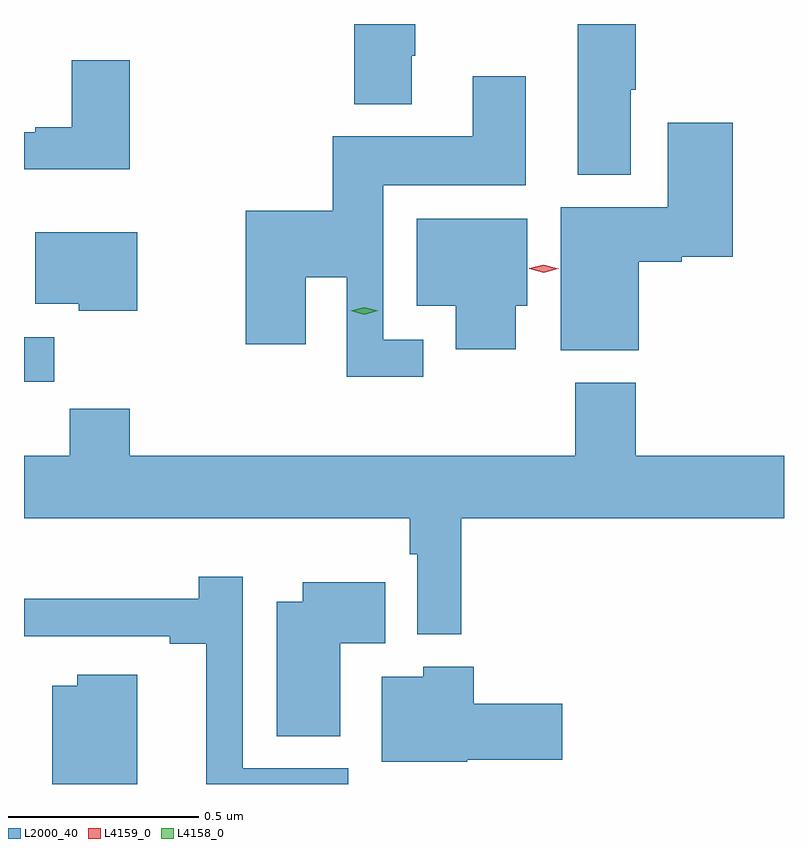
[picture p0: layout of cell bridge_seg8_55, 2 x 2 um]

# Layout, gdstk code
import gdstk
lib = gdstk.Library(unit=1e-6, precision=1e-09)
def R(c, l, rs):  # rectangles x0, y0, x1, y1
    for r in rs: c.add(gdstk.rectangle(r[:2], r[2:], *l))
def P(c, l, *ps):  # polygons
    for p in ps: c.add(gdstk.Polygon(p, *l))
L2000_40 = (2000, 40)
L4158_0 = (4158, 0)
L4159_0 = (4159, 0)

bridge_seg8_55 = lib.new_cell('bridge_seg8_55')
R(bridge_seg8_55, L2000_40, [(1077.402,1118.19,1077.482,1118.308)])
P(bridge_seg8_55, L2000_40, [(1078.999,1118.959),(1079.012,1118.959),(1079.012,1119.132),(1078.859,1119.132),(1078.859,1118.735),(1078.999,1118.735)],
  [(1078.423,1119.048),(1078.431,1119.048),(1078.431,1119.132),(1078.271,1119.132),(1078.271,1118.921),(1078.423,1118.921)],
  [(1077.68,1119.037),(1077.527,1119.037),(1077.527,1118.86),(1077.431,1118.86),(1077.431,1118.847),(1077.402,1118.847),(1077.402,1118.75),(1077.68,1118.75)],
  [(1078.453,1118.301),(1078.347,1118.301),(1078.347,1118.708),(1078.723,1118.708),(1078.723,1118.995),(1078.583,1118.995),(1078.583,1118.836),(1078.214,1118.836),(1078.214,1118.641),(1077.986,1118.641),(1077.986,1118.289),(1078.144,1118.289),(1078.144,1118.465),(1078.251,1118.465),(1078.251,1118.204),(1078.453,1118.204)],
  [(1079.02,1118.507),(1079.133,1118.507),(1079.133,1118.519),(1079.267,1118.519),(1079.267,1118.872),(1079.096,1118.872),(1079.096,1118.65),(1078.814,1118.65),(1078.814,1118.273),(1079.02,1118.273)],
  [(1078.696,1118.39),(1078.726,1118.39),(1078.726,1118.62),(1078.436,1118.62),(1078.436,1118.39),(1078.538,1118.39),(1078.538,1118.276),(1078.696,1118.276)],
  [(1077.7,1118.584),(1077.431,1118.584),(1077.431,1118.396),(1077.546,1118.396),(1077.546,1118.378),(1077.7,1118.378)],
  [(1078.553,1117.832),(1079.402,1117.832),(1079.402,1117.996),(1079.012,1117.996),(1079.012,1118.188),(1078.852,1118.188),(1078.852,1117.996),(1077.68,1117.996),(1077.68,1118.12),(1077.523,1118.12),(1077.523,1117.996),(1077.402,1117.996),(1077.402,1117.832),(1078.417,1117.832),(1078.417,1117.736),(1078.437,1117.736),(1078.437,1117.526),(1078.553,1117.526)],
  [(1078.255,1117.173),(1077.978,1117.173),(1077.978,1117.678),(1077.862,1117.678),(1077.862,1117.619),(1077.402,1117.619),(1077.402,1117.521),(1077.785,1117.521),(1077.785,1117.501),(1077.881,1117.501),(1077.881,1117.132),(1078.255,1117.132)],
  [(1078.234,1117.502),(1078.352,1117.502),(1078.352,1117.663),(1078.136,1117.663),(1078.136,1117.612),(1078.067,1117.612),(1078.067,1117.258),(1078.234,1117.258)],
  [(1078.569,1117.196),(1078.819,1117.196),(1078.819,1117.343),(1078.586,1117.343),(1078.586,1117.441),(1078.452,1117.441),(1078.452,1117.414),(1078.343,1117.414),(1078.343,1117.19),(1078.569,1117.19)],
  [(1077.7,1117.42),(1077.542,1117.42),(1077.542,1117.39),(1077.476,1117.39),(1077.476,1117.132),(1077.7,1117.132)])
P(bridge_seg8_55, L4158_0, [(1078.298,1118.367),(1078.262,1118.377),(1078.262,1118.377),(1078.262,1118.378),(1078.298,1118.387),(1078.334,1118.378),(1078.334,1118.377),(1078.334,1118.377)])
P(bridge_seg8_55, L4159_0, [(1078.77,1118.478),(1078.732,1118.488),(1078.732,1118.489),(1078.732,1118.489),(1078.77,1118.498),(1078.808,1118.488),(1078.809,1118.488),(1078.808,1118.488)])

lib.write_gds('bridge_seg8_55.gds')
